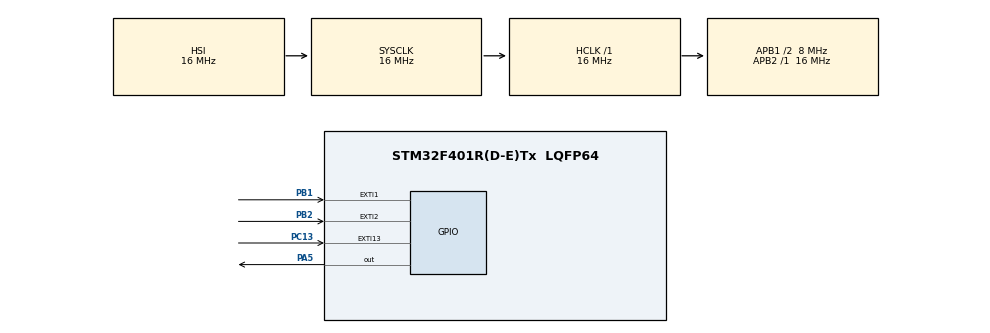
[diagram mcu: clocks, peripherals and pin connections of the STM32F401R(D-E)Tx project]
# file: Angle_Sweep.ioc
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Mcu.Family=STM32F4
Mcu.Name=STM32F401R(D-E)Tx
Mcu.Package=LQFP64
NVIC.EXTI15_10_IRQn=true\:0\:0\:false\:false\:true\:true\:true\:true
NVIC.EXTI1_IRQn=true\:0\:0\:false\:false\:true\:true\:true\:true
NVIC.EXTI2_IRQn=true\:0\:0\:false\:false\:true\:true\:true\:true
NVIC.PriorityGroup=NVIC_PRIORITYGROUP_4
PA5.Signal=GPIO_Output
PB1.GPIO_PuPd=GPIO_PULLUP
PB1.Signal=GPXTI1
PB2.GPIO_PuPd=GPIO_PULLUP
PB2.Signal=GPXTI2
PC13-ANTI_TAMP.Signal=GPXTI13
ProjectManager.HeapSize=0x200
ProjectManager.StackSize=0x400
ProjectManager.TargetToolchain=STM32CubeIDE
RCC.48MHZClocksFreq_Value=36000000
RCC.AHBFreq_Value=16000000
RCC.APB1CLKDivider=RCC_HCLK_DIV2
RCC.APB1Freq_Value=8000000
RCC.APB1TimFreq_Value=16000000
RCC.APB2Freq_Value=16000000
RCC.APB2TimFreq_Value=16000000
RCC.CortexFreq_Value=16000000
RCC.HCLKFreq_Value=16000000
RCC.HSE_VALUE=25000000
RCC.HSI_VALUE=16000000
RCC.LSE_VALUE=32768
RCC.PLLM=8
RCC.PLLN=72
RCC.SYSCLKFreq_VALUE=16000000
RCC.VCOOutputFreq_Value=144000000
TIM9.AutoReloadPreload=TIM_AUTORELOAD_PRELOAD_ENABLE
TIM9.Prescaler=16000
VP_TIM9_VS_ClockSourceINT.Mode=Internal
board=custom

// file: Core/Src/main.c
/* USER CODE BEGIN Header */
/**
  ******************************************************************************
  * @file           : main.c
  * @brief          : Main program body
  ******************************************************************************
  * @attention
  *
  * Copyright (c) 2023 STMicroelectronics.
  * All rights reserved.
  *
  * This software is licensed under terms that can be found in the LICENSE file
  * in the root directory of this software component.
  * If no LICENSE file comes with this software, it is provided AS-IS.
  *
  ******************************************************************************
  */
/* USER CODE END Header */
#include "main.h"

/* USER CODE BEGIN PM */
volatile int state = 0;
/*
 * 0: Pre-homing state
 * 1: Normal function
 * 2: Exception. FC1 interruption mode
 * 3: Exception. FC2 interruption mode
 * */
volatile int sweep = 1;
/*
 * 0: No sweep
 * 1: Sweep
 * */
volatile float angle = 0; //value of the angle the motor has to be at any time
volatile int step = 0;
/*
 * 0: No step
 * 1: Step
 * */

volatile int direction = 1;
/*
 * 1: Increment
 *-1: Decrement*/

//counter for the sweeping mode
volatile int counter = 0;

// Angle constants
float max_angle = 20; //max sweeping angle
float min_angle = -20; //min sweeping angle
float FC1_angle = 62;
float FC2_angle = -60;
float increment = 0.5;

// Time constants

int step_time = 100; //ms
int sweep_time = 30*1000; //ms (s*1000)

/* USER CODE END PM */

TIM_HandleTypeDef htim9;

void SystemClock_Config(void);
static void MX_GPIO_Init(void);
static void MX_TIM9_Init(void);
/* USER CODE BEGIN PFP */

void FC1_Handler();
void FC2_Handler();
void motor_sweep();
void motor_step();

/* USER CODE END PFP */

int main(void)
{

  /* MCU Configuration--------------------------------------------------------*/

  /* Reset of all peripherals, Initializes the Flash interface and the Systick. */
  HAL_Init();

  /* Configure the system clock */
  SystemClock_Config();

  /* Initialize all configured peripherals */
  MX_GPIO_Init();
  MX_TIM9_Init();
  /* USER CODE BEGIN 2 */
  state = 0;
  HAL_TIM_Base_Start_IT(&htim9);
  /* USER CODE END 2 */

  /* Infinite loop */
  /* USER CODE BEGIN WHILE */
    while (1)
  {
    	switch (state){
    	case 0: // Pre-homing state (initial state)
    		HAL_GPIO_WritePin(GPIOA, GPIO_PIN_5, SET); //move motor to calibration spot

    		break;
    	case 1: // Normal behaviour
    		motor_sweep();
			break;
    	case 2: // Security FC pressed
    	    angle = FC1_angle;

			break;
    	case 3: // Calibration FC pressed
			angle = FC2_angle;

			break;
    	}
    /* USER CODE END WHILE */

  }
}

void SystemClock_Config(void)
{
  RCC_OscInitTypeDef RCC_OscInitStruct = {0};
  RCC_ClkInitTypeDef RCC_ClkInitStruct = {0};

  /** Configure the main internal regulator output voltage
  */
  __HAL_RCC_PWR_CLK_ENABLE();
  __HAL_PWR_VOLTAGESCALING_CONFIG(PWR_REGULATOR_VOLTAGE_SCALE2);

  /** Initializes the RCC Oscillators according to the specified parameters
  * in the RCC_OscInitTypeDef structure.
  */
  RCC_OscInitStruct.OscillatorType = RCC_OSCILLATORTYPE_HSI;
  RCC_OscInitStruct.HSIState = RCC_HSI_ON;
  RCC_OscInitStruct.HSICalibrationValue = RCC_HSICALIBRATION_DEFAULT;
  RCC_OscInitStruct.PLL.PLLState = RCC_PLL_NONE;
  if (HAL_RCC_OscConfig(&RCC_OscInitStruct) != HAL_OK)
  {
    Error_Handler();
  }

  /** Initializes the CPU, AHB and APB buses clocks
  */
  RCC_ClkInitStruct.ClockType = RCC_CLOCKTYPE_HCLK|RCC_CLOCKTYPE_SYSCLK
                              |RCC_CLOCKTYPE_PCLK1|RCC_CLOCKTYPE_PCLK2;
  RCC_ClkInitStruct.SYSCLKSource = RCC_SYSCLKSOURCE_HSI;
  RCC_ClkInitStruct.AHBCLKDivider = RCC_SYSCLK_DIV1;
  RCC_ClkInitStruct.APB1CLKDivider = RCC_HCLK_DIV2;
  RCC_ClkInitStruct.APB2CLKDivider = RCC_HCLK_DIV1;

  if (HAL_RCC_ClockConfig(&RCC_ClkInitStruct, FLASH_LATENCY_0) != HAL_OK)
  {
    Error_Handler();
  }
}

static void MX_TIM9_Init(void)
{

  TIM_ClockConfigTypeDef sClockSourceConfig = {0};

  htim9.Instance = TIM9;
  htim9.Init.Prescaler = 16000;
  htim9.Init.CounterMode = TIM_COUNTERMODE_UP;
  htim9.Init.Period = 65535;
  htim9.Init.ClockDivision = TIM_CLOCKDIVISION_DIV1;
  htim9.Init.AutoReloadPreload = TIM_AUTORELOAD_PRELOAD_ENABLE;
  if (HAL_TIM_Base_Init(&htim9) != HAL_OK)
  {
    Error_Handler();
  }
  sClockSourceConfig.ClockSource = TIM_CLOCKSOURCE_INTERNAL;
  if (HAL_TIM_ConfigClockSource(&htim9, &sClockSourceConfig) != HAL_OK)
  {
    Error_Handler();
  }

}

static void MX_GPIO_Init(void)
{
  GPIO_InitTypeDef GPIO_InitStruct = {0};

  /* GPIO Ports Clock Enable */
  __HAL_RCC_GPIOC_CLK_ENABLE();
  __HAL_RCC_GPIOA_CLK_ENABLE();
  __HAL_RCC_GPIOB_CLK_ENABLE();

  /*Configure GPIO pin Output Level */
  HAL_GPIO_WritePin(GPIOA, GPIO_PIN_5, GPIO_PIN_RESET);

  /*Configure GPIO pin : PC13 */
  GPIO_InitStruct.Pin = GPIO_PIN_13;
  GPIO_InitStruct.Mode = GPIO_MODE_IT_RISING;
  GPIO_InitStruct.Pull = GPIO_NOPULL;
  HAL_GPIO_Init(GPIOC, &GPIO_InitStruct);

  /*Configure GPIO pin : PA5 */
  GPIO_InitStruct.Pin = GPIO_PIN_5;
  GPIO_InitStruct.Mode = GPIO_MODE_OUTPUT_PP;
  GPIO_InitStruct.Pull = GPIO_NOPULL;
  GPIO_InitStruct.Speed = GPIO_SPEED_FREQ_LOW;
  HAL_GPIO_Init(GPIOA, &GPIO_InitStruct);

  /*Configure GPIO pins : PB1 PB2 */
  GPIO_InitStruct.Pin = GPIO_PIN_1|GPIO_PIN_2;
  GPIO_InitStruct.Mode = GPIO_MODE_IT_RISING;
  GPIO_InitStruct.Pull = GPIO_PULLUP;
  HAL_GPIO_Init(GPIOB, &GPIO_InitStruct);

  /* EXTI interrupt init*/
  HAL_NVIC_SetPriority(EXTI1_IRQn, 0, 0);
  HAL_NVIC_EnableIRQ(EXTI1_IRQn);

  HAL_NVIC_SetPriority(EXTI2_IRQn, 0, 0);
  HAL_NVIC_EnableIRQ(EXTI2_IRQn);

  HAL_NVIC_SetPriority(EXTI15_10_IRQn, 0, 0);
  HAL_NVIC_EnableIRQ(EXTI15_10_IRQn);

}

/* USER CODE BEGIN 4 */
void HAL_GPIO_EXTI_Callback(uint16_t GPIO_Pin){

	if (GPIO_Pin == GPIO_PIN_13){
		state = 1;
		angle = 0;
	}

	else if (GPIO_Pin == GPIO_PIN_1){
		FC1_Handler();
	}

	else if (GPIO_Pin == GPIO_PIN_2){
		FC2_Handler();
	}

	else{
		__NOP();
	}
}

// What to do if the security interrupt is pressed
void FC1_Handler(){

	state = 2;
	HAL_GPIO_WritePin(GPIOA, GPIO_PIN_5, SET); //stop motor
}

// What to do if the calibration interrupt is pressed
void FC2_Handler(){

	state = 3;
	HAL_GPIO_WritePin(GPIOA, GPIO_PIN_5, SET); //stop motor
}

//sweeping function
void motor_sweep(){
	if (sweep == 1){
		motor_step();
	}
}

void motor_step(){
	if (step == 1){

		HAL_GPIO_TogglePin(GPIOA, GPIO_PIN_5);
		step = 0;

		angle += increment*direction;

		if (angle >= max_angle){
			sweep = 0;
			direction = -1;
			}
		else if (angle <= min_angle){
			sweep = 0;
			direction = 1;
		}
	}
}

// Timer interruptions handler
void HAL_TIM_PeriodElapsedCallback(TIM_HandleTypeDef *htim){

	//Step timer
	if (htim == &htim9){
	  step = 1;
	  counter++;

	  if (counter >= (sweep_time / step_time)){
		  sweep = 1;
		  counter = 0;
	  }
	}

}
/* USER CODE END 4 */

void Error_Handler(void)
{
  __disable_irq();
  while (1)
  {
  }
}
